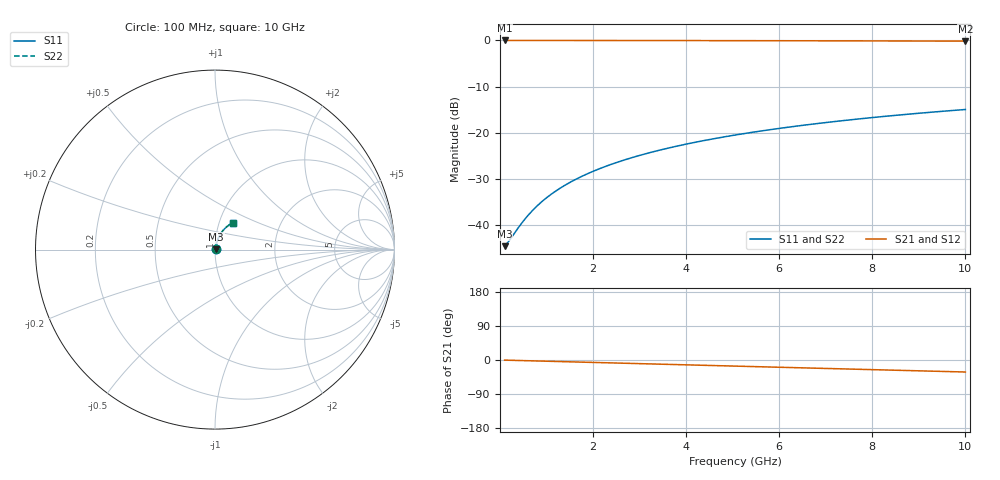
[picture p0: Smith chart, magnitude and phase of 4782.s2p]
# Hz S RI R 50.00
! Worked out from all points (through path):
!   100 points, 100 MHz to 10 GHz, reference 50 ohm
!   highest |S21| = -0.05 dB at 100 MHz (marker M1); lowest = -0.2 dB at 10 GHz (marker M2)
!   group delay of S21, straight-line fit = 8.81 ps
!   lowest |S11| = -44.5 dB at 100 MHz (marker M3), VSWR 1.01, Z = 50.6 + j0.189 ohm
!   |S11| at or under -10 dB: start of sweep to end of sweep
!   |S22| runs from -44.5 to -15.0 dB; largest |S21 - S12| = 0
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1e8  0.00566 0.00187  0.9943 -0.00555  0.9943 -0.00555  0.00566 0.00187
2e8  0.00573 0.00374  0.9942 -0.0111  0.9942 -0.0111  0.00573 0.00374
4e8  0.0059 0.00747  0.994 -0.0222  0.994 -0.0222  0.0059 0.00747
5e8  0.00601 0.00933  0.9938 -0.0277  0.9938 -0.0277  0.00601 0.00933
6e8  0.00614 0.0112  0.9936 -0.0333  0.9936 -0.0333  0.00614 0.0112
7e8  0.00629 0.0131  0.9934 -0.0388  0.9934 -0.0388  0.00629 0.0131
9e8  0.00665 0.0168  0.9928 -0.0499  0.9928 -0.0499  0.00665 0.0168
1.1e9  0.00709 0.0205  0.9921 -0.061  0.9921 -0.061  0.00709 0.0205
1.3e9  0.00761 0.0242  0.9912 -0.072  0.9912 -0.072  0.00761 0.0242
1.5e9  0.0082 0.0279  0.9902 -0.0831  0.9902 -0.0831  0.0082 0.0279
1.8e9  0.00925 0.0334  0.9885 -0.0996  0.9885 -0.0996  0.00925 0.0334
2.1e9  0.0105 0.0388  0.9864 -0.1161  0.9864 -0.1161  0.0105 0.0388
2.5e9  0.0124 0.046  0.9833 -0.138  0.9833 -0.138  0.0124 0.046
2.9e9  0.0146 0.0531  0.9795 -0.1598  0.9795 -0.1598  0.0146 0.0531
3.4e9  0.0179 0.0618  0.9741 -0.1869  0.9741 -0.1869  0.0179 0.0618
4.2e9  0.024 0.0753  0.9638 -0.2298  0.9638 -0.2298  0.024 0.0753
5.1e9  0.0324 0.0898  0.9497 -0.2772  0.9497 -0.2772  0.0324 0.0898
5.9e9  0.0409 0.1018  0.9351 -0.3184  0.9351 -0.3184  0.0409 0.1018
6.7e9  0.0505 0.113  0.9186 -0.3588  0.9186 -0.3588  0.0505 0.113
7.5e9  0.061 0.1233  0.9002 -0.3982  0.9002 -0.3982  0.061 0.1233
8.4e9  0.0737 0.1337  0.8774 -0.4411  0.8774 -0.4411  0.0737 0.1337
1e10  0.0986 0.1488  0.8319 -0.5136  0.8319 -0.5136  0.0986 0.1488
